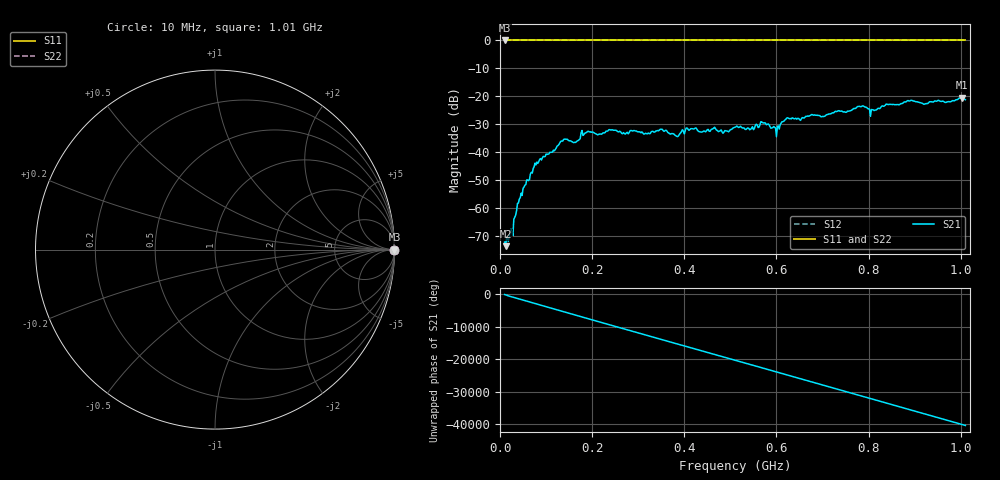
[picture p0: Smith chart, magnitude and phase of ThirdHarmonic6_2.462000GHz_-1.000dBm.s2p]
! 8/17/2025 4:28:25 AM
! C:\ANRITSUVNA\TEMP\TEMP.S2P
! CHANNEL.1
! TR.MEASUREMENT
! RAW.DATA
! RF.CORRECTION.OFF
! AVERAGING.OFF
! IF.BANDWIDTH: 5KHZ
! SWEEPTYPE:  FREQ.SWEEP(Linear)
! Reference Plane Port Info
! PORT:  PORT1  PORT2
! DISTANCE:  0  m  0  m
! TIME:  0  s  0  s
! PHASE.OFFSET:  0  deg.  0  deg.
! LOSS:  0  dB  0  dB
! REF.LOSS:  0  dB  0  dB
! REF.FREQ:  0  Hz  0  Hz
! Power Info
! POWER:  -20  dBm  -20  dBm
! EFF.POWER:  -20  dBm  -20  dBm
! SOURCE.ATTEN:  0  dB  0  dB
! TEST.ATTEN:  0  dB  0  dB
# GHZ S RI R 50.0
! FREQ.GHZ  S11RE  S11IM  S21RE  S21IM  S12RE  S12IM  S22RE  S22IM
!; PortSelection: Port_12
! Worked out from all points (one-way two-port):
!   501 points, 10 MHz to 1.01 GHz, reference 50 ohm
!   highest |S21| = -20.48 dB at 1.002 GHz (marker M1); lowest = -73.5 dB at 12 MHz (marker M2)
!   lowest |S11| = 0.0 dB at 10 MHz (marker M3)
!   |S11| at or under -10 dB: nowhere
!   |S22| runs from 0.0 to 0.0 dB; largest |S21 - S12| = 1.1
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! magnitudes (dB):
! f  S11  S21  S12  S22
! 10 MHz  0.0  -72.0  0.0  0.0
! 12 MHz  0.0  -73.5  0.0  0.0
! 24 MHz  0.0  -67.4  0.0  0.0
! 42 MHz  0.0  -56.6  0.0  0.0
! 76 MHz  0.0  -43.8  0.0  0.0
! 136 MHz  0.0  -35.9  0.0  0.0
! 164 MHz  0.0  -36.4  0.0  0.0
! 178 MHz  0.0  -32.2  0.0  0.0
! 344 MHz  0.0  -32.3  0.0  0.0
! 384 MHz  0.0  -34.3  0.0  0.0
! 408 MHz  0.0  -31.6  0.0  0.0
! 510 MHz  0.0  -31.0  0.0  0.0
! 546 MHz  0.0  -31.3  0.0  0.0
! 570 MHz  0.0  -29.4  0.0  0.0
! 602 MHz  0.0  -30.7  0.0  0.0
! 622 MHz  0.0  -27.7  0.0  0.0
! 678 MHz  0.0  -26.5  0.0  0.0
! 784 MHz  0.0  -23.6  0.0  0.0
! 808 MHz  0.0  -24.7  0.0  0.0
! 844 MHz  0.0  -22.8  0.0  0.0
! 1.002 GHz  0.0  -20.5  0.0  0.0
! 1.01 GHz  0.0  -21.2  0.0  0.0
